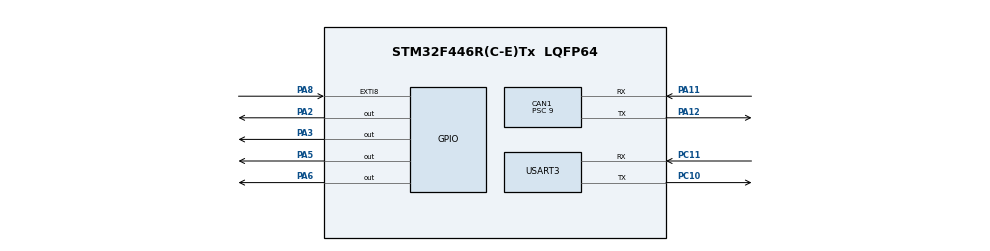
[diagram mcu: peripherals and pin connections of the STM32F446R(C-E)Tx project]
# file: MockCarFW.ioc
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CAN1.BS1=CAN_BS1_13TQ
CAN1.BS2=CAN_BS2_2TQ
CAN1.CalculateBaudRate=111111
CAN1.CalculateTimeBit=9000
CAN1.CalculateTimeQuantum=562.5
CAN1.Prescaler=9
Mcu.Family=STM32F4
Mcu.Name=STM32F446R(C-E)Tx
Mcu.Package=LQFP64
NVIC.CAN1_RX0_IRQn=true\:0\:0\:false\:false\:true\:true\:true\:true
NVIC.CAN1_RX1_IRQn=true\:0\:0\:false\:false\:true\:true\:true\:true
NVIC.CAN1_TX_IRQn=true\:0\:0\:false\:false\:true\:true\:true\:true
NVIC.EXTI9_5_IRQn=true\:0\:0\:false\:false\:true\:true\:true\:true
NVIC.PriorityGroup=NVIC_PRIORITYGROUP_4
NVIC.TIM6_DAC_IRQn=true\:0\:0\:false\:false\:true\:true\:true\:true
NVIC.TIM7_IRQn=true\:0\:0\:false\:false\:true\:true\:true\:true
PA11.Mode=CAN_Activate
PA11.Signal=CAN1_RX
PA12.Mode=CAN_Activate
PA12.Signal=CAN1_TX
PA2.Signal=GPIO_Output
PA3.Signal=GPIO_Output
PA5.Signal=GPIO_Output
PA6.Signal=GPIO_Output
PA8.Signal=GPXTI8
PC10.Mode=Asynchronous
PC10.Signal=USART3_TX
PC11.Mode=Asynchronous
PC11.Signal=USART3_RX
ProjectManager.HeapSize=0x200
ProjectManager.StackSize=0x400
ProjectManager.TargetToolchain=STM32CubeIDE
RCC.CortexFreq_Value=16000000
RCC.USBFreq_Value=96000000
RCC.VCOOutputFreq_Value=192000000
TIM6.Period=10000
TIM6.Prescaler=1599
TIM7.Period=80
TIM7.Prescaler=1599
USART3.VirtualMode=VM_ASYNC
VP_TIM6_VS_ClockSourceINT.Mode=Enable_Timer
VP_TIM7_VS_ClockSourceINT.Mode=Enable_Timer
board=custom

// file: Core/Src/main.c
/* USER CODE BEGIN Header */
/**
  ******************************************************************************
  * @file           : main.c
  * @brief          : Main program body
  ******************************************************************************
  * @attention
  *
  * Copyright (c) 2026 STMicroelectronics.
  * All rights reserved.
  *
  * This software is licensed under terms that can be found in the LICENSE file
  * in the root directory of this software component.
  * If no LICENSE file comes with this software, it is provided AS-IS.
  *
  ******************************************************************************
  */
/* USER CODE END Header */
#include "main.h"

/* USER CODE BEGIN Includes */
#include <stdatomic.h>
#include <stdbool.h>
#include <string.h>
#include <stdio.h>
/* USER CODE END Includes */

/* USER CODE BEGIN PTD */
enum mc_wipers_state
{
	WIPERS_PARKED = 0,
	WIPERS_ON,
	WIPERS_REQUEST_STOP
};

enum mc_wipers_speed
{
	WIPERS_OFF,
	WIPERS_SLOW,
	WIPERS_MEDIUM,        /* TODO: Not implemented yet */
	WIPERS_FAST
};
/* USER CODE END PTD */

/* USER CODE BEGIN PD */
#define PARK_AFTER_CHECK_TIME ((int)80) /* 8ms */
#define CAN_RX_STD_ID         0x123U
#define SW_VERSION            "0.1"
/* USER CODE END PD */

CAN_HandleTypeDef hcan1;

TIM_HandleTypeDef htim6;
TIM_HandleTypeDef htim7;

UART_HandleTypeDef huart3;

/* USER CODE BEGIN PV */
atomic_bool g_park_rising_edge_fired;
atomic_bool g_timer_elapsed;
atomic_int  g_wipers_speed;
atomic_bool g_timer_slow_period_elapsed;
/* USER CODE END PV */

void SystemClock_Config(void);
static void MX_GPIO_Init(void);
static void MX_TIM7_Init(void);
static void MX_USART3_UART_Init(void);
static void MX_CAN1_Init(void);
static void MX_TIM6_Init(void);

/* USER CODE BEGIN 0 */
/* User Interrupts */
void HAL_GPIO_EXTI_Callback(uint16_t GPIO_Pin)
{
	atomic_store(&g_park_rising_edge_fired, true);
	//HAL_UART_Transmit(&huart3, "edge\r\n", 6, 10);
}

void HAL_TIM_PeriodElapsedCallback(TIM_HandleTypeDef *htim)
{
	if (htim->Instance == TIM7) {
		/* Dummy end */
		//HAL_UART_Transmit(&huart3, "timer\r\n", 7, 10);
		atomic_store(&g_timer_elapsed, true);
	} else if (htim->Instance == TIM6) {
		HAL_UART_Transmit(&huart3, "timer6\r\n", 8, 10);
		atomic_store(&g_timer_slow_period_elapsed, true);
		HAL_TIM_Base_Stop_IT(&htim6);
	}
}

void HAL_CAN_RxFifo0MsgPendingCallback(CAN_HandleTypeDef *hcan)
{
    if (hcan->Instance != CAN1)
    	return;

    CAN_RxHeaderTypeDef RxHeader;
    uint8_t RxData[8] = {0};

    if (HAL_CAN_GetRxMessage(hcan, CAN_RX_FIFO0, &RxHeader, RxData) != HAL_OK)
        return;

    /* Byte 0 = speed (0-3), clamp to valid range */
    uint8_t raw_speed = RxData[0];
    if (raw_speed > 3) {
    	raw_speed = 3;
    }

    atomic_store(&g_wipers_speed, raw_speed);
    /*char dbg[30];
    int len = sprintf(dbg, "CAN %d\r\n", raw_speed);
    HAL_UART_Transmit(&huart3, dbg, len, 10);*/
}

void wipers_set_speed(enum mc_wipers_speed speed)
{
	switch (speed) {
	case WIPERS_SLOW:
	case WIPERS_MEDIUM:
		HAL_GPIO_WritePin(FAST_INH_PORT, FAST_INH_PIN, GPIO_PIN_RESET);
		HAL_GPIO_WritePin(SLOW_INH_PORT, SLOW_INH_PIN, GPIO_PIN_SET);
		HAL_GPIO_WritePin(SLOW_PWM_PORT, SLOW_PWM_PIN, GPIO_PIN_SET);
		HAL_GPIO_WritePin(FAST_PWM_PORT, FAST_PWM_PIN, GPIO_PIN_RESET);
		break;
	case WIPERS_FAST:
		HAL_GPIO_WritePin(FAST_INH_PORT, FAST_INH_PIN, GPIO_PIN_SET);
		HAL_GPIO_WritePin(SLOW_INH_PORT, SLOW_INH_PIN, GPIO_PIN_RESET);
		HAL_GPIO_WritePin(SLOW_PWM_PORT, SLOW_PWM_PIN, GPIO_PIN_RESET);
		HAL_GPIO_WritePin(FAST_PWM_PORT, FAST_PWM_PIN, GPIO_PIN_SET);
		break;
	default: /* Ignore OFF */
		break;
	}
}

/* USER CODE END 0 */

int main(void)
{

  /* MCU Configuration--------------------------------------------------------*/

  /* Reset of all peripherals, Initializes the Flash interface and the Systick. */
  HAL_Init();

  /* USER CODE BEGIN Init */
  bool check_park_after = false;
  atomic_store(&g_park_rising_edge_fired, false);
  atomic_store(&g_timer_elapsed, false);
  atomic_store(&g_timer_slow_period_elapsed, false);
  enum mc_wipers_state wipers_state = WIPERS_PARKED;
  atomic_store(&g_wipers_speed, WIPERS_OFF);
  const char *fw_hello = "[MockCar] FW Version " SW_VERSION "\r\n";
  /* USER CODE END Init */

  /* Configure the system clock */
  SystemClock_Config();

  /* Initialize all configured peripherals */
  MX_GPIO_Init();
  MX_TIM7_Init();
  MX_USART3_UART_Init();
  MX_CAN1_Init();
  MX_TIM6_Init();
  /* USER CODE BEGIN 2 */

  CAN_FilterTypeDef filter = {0};
  filter.FilterBank           = 0;
  filter.FilterMode           = CAN_FILTERMODE_IDMASK;      /* exact ID match */
  filter.FilterScale          = CAN_FILTERSCALE_32BIT;
  filter.FilterIdHigh         = CAN_RX_STD_ID << 5;        /* StdId in [15:5] */
  filter.FilterIdLow          = 0x0000;
  filter.FilterMaskIdHigh     = 0x0000;
  filter.FilterMaskIdLow      = 0x0000;
  filter.FilterFIFOAssignment = CAN_RX_FIFO0;
  filter.FilterActivation     = ENABLE;
  filter.SlaveStartFilterBank = 14;
  HAL_CAN_ConfigFilter(&hcan1, &filter);

  HAL_CAN_Start(&hcan1);
  /* Enable FIFO0 message-pending interrupt */
  HAL_CAN_ActivateNotification(&hcan1, CAN_IT_RX_FIFO0_MSG_PENDING);
  /* USER CODE END 2 */

  /* Infinite loop */
  /* USER CODE BEGIN WHILE */
  HAL_UART_Transmit(&huart3, (const uint8_t*) fw_hello, strlen(fw_hello), 10);

  int loop_cnt = 0;
  bool slow_wait_active = false;
  bool _true = true;
  bool _false = false;
  while (1)
  {
	if (loop_cnt++ == 100000) {
		HAL_UART_Transmit(&huart3, (const uint8_t*) "LOOP ALIVE\r\n", 12, 10);
		loop_cnt = 0;
	}
	bool stop_motor = false;
	_true = true;
	_false = false;

	enum mc_wipers_speed wipers_speed = atomic_load(&g_wipers_speed);
	/* Check the park edge and start a delay timer */
	if (atomic_load(&g_park_rising_edge_fired) && !check_park_after) {
		/* Don't clear the park flag, that should be cleared after a small delay after debouncing (using timers). */
		HAL_TIM_Base_Stop(&htim7);
		check_park_after = true;
		TIM7->CNT = 0;
		HAL_TIM_Base_Start_IT(&htim7);
		atomic_store(&g_park_rising_edge_fired, false);
	}
	if (check_park_after) {
		if (atomic_load(&g_timer_elapsed)) {
			atomic_store(&g_timer_elapsed, false);
			HAL_TIM_Base_Stop(&htim7);
			check_park_after = false;
			/* Check the polarity of the edge */
			if (HAL_GPIO_ReadPin(PARK_SENSE_PORT, PARK_SENSE_PIN) == GPIO_PIN_SET) {
				/* This means the motor is parked in the park position. However,
				 * stop the motor if it's requested, otherwise not.
				 */
				if (wipers_speed == WIPERS_OFF || wipers_speed == WIPERS_SLOW) {
					stop_motor = true;
				}
			}
		}
	}

	if (atomic_compare_exchange_strong(&g_timer_slow_period_elapsed, &_true, false)) {
		HAL_UART_Transmit(&huart3, "SET\r\n", 5, 10);
		slow_wait_active = false;
	}

	switch (wipers_state) {
	case WIPERS_PARKED:
		/* If the wipers are parked and there's request to turn on the wipers, start it.
		 * However, if are waiting for the SLOW period timer to finish, stay here */
		if (wipers_speed == WIPERS_OFF) {
			/* In case we go from the OFF state to SLOW, we need to disable the slow wait active */
			slow_wait_active = false;
		} else if (wipers_speed > WIPERS_SLOW) {
			wipers_state = WIPERS_ON;
			wipers_set_speed(wipers_speed);
		} else if (wipers_speed == WIPERS_SLOW && !slow_wait_active) {
			HAL_UART_Transmit(&huart3,  "Going to STOP\r\n", 16, 10);
			wipers_state = WIPERS_REQUEST_STOP;
			wipers_set_speed(WIPERS_SLOW);
			slow_wait_active = true;
		}
		break;
	case WIPERS_ON:
		wipers_set_speed(wipers_speed);
		if (wipers_speed == WIPERS_OFF || wipers_speed == WIPERS_SLOW) {
			wipers_state = WIPERS_REQUEST_STOP;
		}
		break;
	case WIPERS_REQUEST_STOP:
		/* If by any change a request to launch is received again, go back to the WIPERS_ON state */
		if (wipers_speed > WIPERS_SLOW) {
			wipers_state = WIPERS_ON;
		} else {
			if (stop_motor) {
				/* Caught stop motor condition, disable everything */
				HAL_GPIO_WritePin(SLOW_PWM_PORT, SLOW_PWM_PIN, GPIO_PIN_RESET);
				HAL_GPIO_WritePin(FAST_PWM_PORT, FAST_PWM_PIN, GPIO_PIN_RESET);
				wipers_state = WIPERS_PARKED;
				if (wipers_speed == WIPERS_SLOW) {
					/* Start the countdown slow timer */
					HAL_TIM_Base_Stop(&htim6);
					TIM6->CNT = 0;
					HAL_TIM_Base_Start_IT(&htim6);
					slow_wait_active = true;
				}
			}
		}
		break;
	}
    /* USER CODE END WHILE */

  }
}

void SystemClock_Config(void)
{
  RCC_OscInitTypeDef RCC_OscInitStruct = {0};
  RCC_ClkInitTypeDef RCC_ClkInitStruct = {0};

  /** Configure the main internal regulator output voltage
  */
  __HAL_RCC_PWR_CLK_ENABLE();
  __HAL_PWR_VOLTAGESCALING_CONFIG(PWR_REGULATOR_VOLTAGE_SCALE3);

  /** Initializes the RCC Oscillators according to the specified parameters
  * in the RCC_OscInitTypeDef structure.
  */
  RCC_OscInitStruct.OscillatorType = RCC_OSCILLATORTYPE_HSI;
  RCC_OscInitStruct.HSIState = RCC_HSI_ON;
  RCC_OscInitStruct.HSICalibrationValue = RCC_HSICALIBRATION_DEFAULT;
  RCC_OscInitStruct.PLL.PLLState = RCC_PLL_NONE;
  if (HAL_RCC_OscConfig(&RCC_OscInitStruct) != HAL_OK)
  {
    Error_Handler();
  }

  /** Initializes the CPU, AHB and APB buses clocks
  */
  RCC_ClkInitStruct.ClockType = RCC_CLOCKTYPE_HCLK|RCC_CLOCKTYPE_SYSCLK
                              |RCC_CLOCKTYPE_PCLK1|RCC_CLOCKTYPE_PCLK2;
  RCC_ClkInitStruct.SYSCLKSource = RCC_SYSCLKSOURCE_HSI;
  RCC_ClkInitStruct.AHBCLKDivider = RCC_SYSCLK_DIV1;
  RCC_ClkInitStruct.APB1CLKDivider = RCC_HCLK_DIV1;
  RCC_ClkInitStruct.APB2CLKDivider = RCC_HCLK_DIV1;

  if (HAL_RCC_ClockConfig(&RCC_ClkInitStruct, FLASH_LATENCY_0) != HAL_OK)
  {
    Error_Handler();
  }
}

static void MX_CAN1_Init(void)
{

  hcan1.Instance = CAN1;
  hcan1.Init.Prescaler = 9;
  hcan1.Init.Mode = CAN_MODE_NORMAL;
  hcan1.Init.SyncJumpWidth = CAN_SJW_1TQ;
  hcan1.Init.TimeSeg1 = CAN_BS1_13TQ;
  hcan1.Init.TimeSeg2 = CAN_BS2_2TQ;
  hcan1.Init.TimeTriggeredMode = DISABLE;
  hcan1.Init.AutoBusOff = DISABLE;
  hcan1.Init.AutoWakeUp = DISABLE;
  hcan1.Init.AutoRetransmission = DISABLE;
  hcan1.Init.ReceiveFifoLocked = DISABLE;
  hcan1.Init.TransmitFifoPriority = DISABLE;
  if (HAL_CAN_Init(&hcan1) != HAL_OK)
  {
    Error_Handler();
  }

}

static void MX_TIM6_Init(void)
{

  TIM_MasterConfigTypeDef sMasterConfig = {0};

  htim6.Instance = TIM6;
  htim6.Init.Prescaler = 1599;
  htim6.Init.CounterMode = TIM_COUNTERMODE_UP;
  htim6.Init.Period = 10000;
  htim6.Init.AutoReloadPreload = TIM_AUTORELOAD_PRELOAD_DISABLE;
  if (HAL_TIM_Base_Init(&htim6) != HAL_OK)
  {
    Error_Handler();
  }
  sMasterConfig.MasterOutputTrigger = TIM_TRGO_RESET;
  sMasterConfig.MasterSlaveMode = TIM_MASTERSLAVEMODE_DISABLE;
  if (HAL_TIMEx_MasterConfigSynchronization(&htim6, &sMasterConfig) != HAL_OK)
  {
    Error_Handler();
  }

}

static void MX_TIM7_Init(void)
{

  TIM_MasterConfigTypeDef sMasterConfig = {0};

  htim7.Instance = TIM7;
  htim7.Init.Prescaler = 1599;
  htim7.Init.CounterMode = TIM_COUNTERMODE_UP;
  htim7.Init.Period = 80;
  htim7.Init.AutoReloadPreload = TIM_AUTORELOAD_PRELOAD_DISABLE;
  if (HAL_TIM_Base_Init(&htim7) != HAL_OK)
  {
    Error_Handler();
  }
  sMasterConfig.MasterOutputTrigger = TIM_TRGO_RESET;
  sMasterConfig.MasterSlaveMode = TIM_MASTERSLAVEMODE_DISABLE;
  if (HAL_TIMEx_MasterConfigSynchronization(&htim7, &sMasterConfig) != HAL_OK)
  {
    Error_Handler();
  }

}

static void MX_USART3_UART_Init(void)
{

  huart3.Instance = USART3;
  huart3.Init.BaudRate = 115200;
  huart3.Init.WordLength = UART_WORDLENGTH_8B;
  huart3.Init.StopBits = UART_STOPBITS_1;
  huart3.Init.Parity = UART_PARITY_NONE;
  huart3.Init.Mode = UART_MODE_TX_RX;
  huart3.Init.HwFlowCtl = UART_HWCONTROL_NONE;
  huart3.Init.OverSampling = UART_OVERSAMPLING_16;
  if (HAL_UART_Init(&huart3) != HAL_OK)
  {
    Error_Handler();
  }

}

static void MX_GPIO_Init(void)
{
  GPIO_InitTypeDef GPIO_InitStruct = {0};

  /* GPIO Ports Clock Enable */
  __HAL_RCC_GPIOA_CLK_ENABLE();
  __HAL_RCC_GPIOC_CLK_ENABLE();

  /*Configure GPIO pin Output Level */
  HAL_GPIO_WritePin(GPIOA, GPIO_PIN_2|GPIO_PIN_3|GPIO_PIN_5|GPIO_PIN_6, GPIO_PIN_RESET);

  /*Configure GPIO pins : PA2 PA3 PA5 PA6 */
  GPIO_InitStruct.Pin = GPIO_PIN_2|GPIO_PIN_3|GPIO_PIN_5|GPIO_PIN_6;
  GPIO_InitStruct.Mode = GPIO_MODE_OUTPUT_PP;
  GPIO_InitStruct.Pull = GPIO_NOPULL;
  GPIO_InitStruct.Speed = GPIO_SPEED_FREQ_LOW;
  HAL_GPIO_Init(GPIOA, &GPIO_InitStruct);

  /*Configure GPIO pin : PA8 */
  GPIO_InitStruct.Pin = GPIO_PIN_8;
  GPIO_InitStruct.Mode = GPIO_MODE_IT_RISING;
  GPIO_InitStruct.Pull = GPIO_NOPULL;
  HAL_GPIO_Init(GPIOA, &GPIO_InitStruct);

  /* EXTI interrupt init*/
  HAL_NVIC_SetPriority(EXTI9_5_IRQn, 0, 0);
  HAL_NVIC_EnableIRQ(EXTI9_5_IRQn);

}

void Error_Handler(void)
{
  __disable_irq();
  while (1)
  {
  }
}
